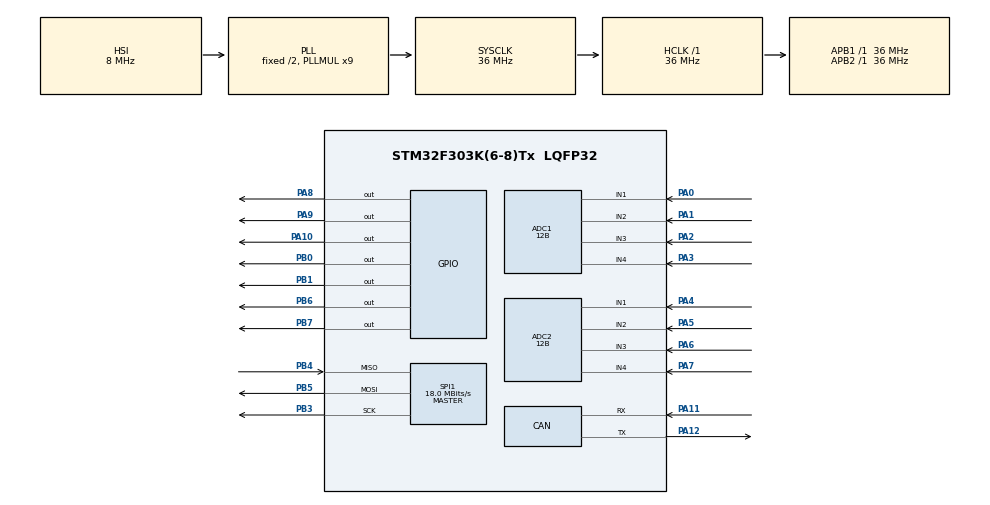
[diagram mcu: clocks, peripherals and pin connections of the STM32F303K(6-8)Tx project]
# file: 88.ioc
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ADC1.Channel-0\#ChannelRegularConversion=ADC_CHANNEL_1
ADC1.ClockPrescaler=ADC_CLOCK_SYNC_PCLK_DIV2
ADC1.ContinuousConvMode=DISABLE
ADC1.DMAContinuousRequests=DISABLE
ADC1.DataAlign=ADC_DATAALIGN_RIGHT
ADC1.DiscontinuousConvMode=DISABLE
ADC1.EOCSelection=ADC_EOC_SINGLE_CONV
ADC1.EnableAnalogWatchDog1=false
ADC1.EnableAnalogWatchDog2=false
ADC1.EnableAnalogWatchDog3=false
ADC1.EnableInjectedConversion=ENABLE
ADC1.EnableRegularConversion=ENABLE
ADC1.ExternalTrigConv=ADC_SOFTWARE_START
ADC1.ExternalTrigConvEdge=ADC_EXTERNALTRIGCONVEDGE_NONE
ADC1.ExternalTrigInjecConv=ADC_INJECTED_SOFTWARE_START
ADC1.ExternalTrigInjecConvEdge=ADC_EXTERNALTRIGINJECCONV_EDGE_NONE
ADC1.InjNumberOfConversion=4
ADC1.InjectedChannel-4\#ChannelInjectedConversion=ADC_CHANNEL_1
ADC1.InjectedChannel-5\#ChannelInjectedConversion=ADC_CHANNEL_2
ADC1.InjectedChannel-6\#ChannelInjectedConversion=ADC_CHANNEL_3
ADC1.InjectedChannel-8\#ChannelInjectedConversion=ADC_CHANNEL_4
ADC1.InjectedConvMode=None
ADC1.InjectedOffset-4\#ChannelInjectedConversion=0
ADC1.InjectedOffset-5\#ChannelInjectedConversion=0
ADC1.InjectedOffset-6\#ChannelInjectedConversion=0
ADC1.InjectedOffset-8\#ChannelInjectedConversion=0
ADC1.InjectedOffsetNumber-4\#ChannelInjectedConversion=ADC_OFFSET_NONE
ADC1.InjectedOffsetNumber-5\#ChannelInjectedConversion=ADC_OFFSET_NONE
ADC1.InjectedOffsetNumber-6\#ChannelInjectedConversion=ADC_OFFSET_NONE
ADC1.InjectedOffsetNumber-8\#ChannelInjectedConversion=ADC_OFFSET_NONE
ADC1.InjectedRank-4\#ChannelInjectedConversion=1
ADC1.InjectedRank-5\#ChannelInjectedConversion=2
ADC1.InjectedRank-6\#ChannelInjectedConversion=3
ADC1.InjectedRank-8\#ChannelInjectedConversion=4
ADC1.InjectedSamplingTime-4\#ChannelInjectedConversion=ADC_SAMPLETIME_1CYCLE_5
ADC1.InjectedSamplingTime-5\#ChannelInjectedConversion=ADC_SAMPLETIME_1CYCLE_5
ADC1.InjectedSamplingTime-6\#ChannelInjectedConversion=ADC_SAMPLETIME_1CYCLE_5
ADC1.InjectedSamplingTime-8\#ChannelInjectedConversion=ADC_SAMPLETIME_1CYCLE_5
ADC1.LowPowerAutoWait=DISABLE
ADC1.NbrOfConversion=1
ADC1.NbrOfConversionFlag=1
ADC1.Offset-0\#ChannelRegularConversion=0
ADC1.OffsetNumber-0\#ChannelRegularConversion=ADC_OFFSET_NONE
ADC1.Overrun=ADC_OVR_DATA_OVERWRITTEN
ADC1.QueueInjectedContext=DISABLE
ADC1.Rank-0\#ChannelRegularConversion=1
ADC1.Resolution=ADC_RESOLUTION_12B
ADC1.SamplingTime-0\#ChannelRegularConversion=ADC_SAMPLETIME_1CYCLE_5
ADC1.ScanConvMode=ADC_SCAN_ENABLE
ADC1.SubFamily=STM32F303x8
ADC1.master=1
ADC2.Channel-0\#ChannelRegularConversion=ADC_CHANNEL_1
ADC2.ClockPrescaler=ADC_CLOCK_SYNC_PCLK_DIV2
ADC2.ContinuousConvMode=DISABLE
ADC2.DMAContinuousRequests=DISABLE
ADC2.DataAlign=ADC_DATAALIGN_RIGHT
ADC2.DiscontinuousConvMode=DISABLE
ADC2.EOCSelection=ADC_EOC_SINGLE_CONV
ADC2.EnableAnalogWatchDog1=false
ADC2.EnableAnalogWatchDog2=false
ADC2.EnableAnalogWatchDog3=false
ADC2.EnableInjectedConversion=ENABLE
ADC2.EnableRegularConversion=ENABLE
ADC2.ExternalTrigConv=ADC_SOFTWARE_START
ADC2.ExternalTrigConvEdge=ADC_EXTERNALTRIGCONVEDGE_NONE
ADC2.ExternalTrigInjecConv=ADC_INJECTED_SOFTWARE_START
ADC2.ExternalTrigInjecConvEdge=ADC_EXTERNALTRIGINJECCONV_EDGE_NONE
ADC2.InjNumberOfConversion=4
ADC2.InjectedChannel-1\#ChannelInjectedConversion=ADC_CHANNEL_1
ADC2.InjectedChannel-2\#ChannelInjectedConversion=ADC_CHANNEL_2
ADC2.InjectedChannel-3\#ChannelInjectedConversion=ADC_CHANNEL_3
ADC2.InjectedChannel-5\#ChannelInjectedConversion=ADC_CHANNEL_4
ADC2.InjectedConvMode=None
ADC2.InjectedOffset-1\#ChannelInjectedConversion=0
ADC2.InjectedOffset-2\#ChannelInjectedConversion=0
ADC2.InjectedOffset-3\#ChannelInjectedConversion=0
ADC2.InjectedOffset-5\#ChannelInjectedConversion=0
ADC2.InjectedOffsetNumber-1\#ChannelInjectedConversion=ADC_OFFSET_NONE
ADC2.InjectedOffsetNumber-2\#ChannelInjectedConversion=ADC_OFFSET_NONE
ADC2.InjectedOffsetNumber-3\#ChannelInjectedConversion=ADC_OFFSET_NONE
ADC2.InjectedOffsetNumber-5\#ChannelInjectedConversion=ADC_OFFSET_NONE
ADC2.InjectedRank-1\#ChannelInjectedConversion=1
ADC2.InjectedRank-2\#ChannelInjectedConversion=2
ADC2.InjectedRank-3\#ChannelInjectedConversion=3
ADC2.InjectedRank-5\#ChannelInjectedConversion=4
ADC2.InjectedSamplingTime-1\#ChannelInjectedConversion=ADC_SAMPLETIME_1CYCLE_5
ADC2.InjectedSamplingTime-2\#ChannelInjectedConversion=ADC_SAMPLETIME_1CYCLE_5
ADC2.InjectedSamplingTime-3\#ChannelInjectedConversion=ADC_SAMPLETIME_1CYCLE_5
ADC2.InjectedSamplingTime-5\#ChannelInjectedConversion=ADC_SAMPLETIME_1CYCLE_5
ADC2.LowPowerAutoWait=DISABLE
ADC2.NbrOfConversion=1
ADC2.NbrOfConversionFlag=1
ADC2.Offset-0\#ChannelRegularConversion=0
ADC2.OffsetNumber-0\#ChannelRegularConversion=ADC_OFFSET_NONE
ADC2.Overrun=ADC_OVR_DATA_OVERWRITTEN
ADC2.QueueInjectedContext=DISABLE
ADC2.Rank-0\#ChannelRegularConversion=1
ADC2.Resolution=ADC_RESOLUTION_12B
ADC2.SamplingTime-0\#ChannelRegularConversion=ADC_SAMPLETIME_1CYCLE_5
ADC2.ScanConvMode=ADC_SCAN_ENABLE
ADC2.SubFamily=STM32F303x8
CAN.CalculateTimeQuantum=444.44444444444446
Mcu.Family=STM32F3
Mcu.Name=STM32F303K(6-8)Tx
Mcu.Package=LQFP32
NVIC.PriorityGroup=NVIC_PRIORITYGROUP_4
PA0.Mode=IN1-Single-Ended
PA0.Signal=ADC1_IN1
PA1.Mode=IN2-Single-Ended
PA1.Signal=ADC1_IN2
PA10.Signal=GPIO_Output
PA11.Mode=Master
PA11.Signal=CAN_RX
PA12.Mode=Master
PA12.Signal=CAN_TX
PA13.Mode=Serial_Wire
PA13.Signal=SYS_JTMS-SWDIO
PA14.Mode=Serial_Wire
PA14.Signal=SYS_JTCK-SWCLK
PA2.Mode=IN3-Single-Ended
PA2.Signal=ADC1_IN3
PA3.Mode=IN4-Single-Ended
PA3.Signal=ADC1_IN4
PA4.Mode=IN1-Single-Ended
PA4.Signal=ADC2_IN1
PA5.Mode=IN2-Single-Ended
PA5.Signal=ADC2_IN2
PA6.Mode=IN3-Single-Ended
PA6.Signal=ADC2_IN3
PA7.Mode=IN4-Single-Ended
PA7.Signal=ADC2_IN4
PA8.Signal=GPIO_Output
PA9.Signal=GPIO_Output
PB0.Signal=GPIO_Output
PB1.Signal=GPIO_Output
PB3.Mode=Full_Duplex_Master
PB3.Signal=SPI1_SCK
PB4.Mode=Full_Duplex_Master
PB4.Signal=SPI1_MISO
PB5.Mode=Full_Duplex_Master
PB5.Signal=SPI1_MOSI
PB6.Signal=GPIO_Output
PB7.Signal=GPIO_Output
PF0\ /\ OSC_IN.Mode=HSE-External-Clock-Source
PF0\ /\ OSC_IN.Signal=RCC_OSC_IN
ProjectManager.HeapSize=0x200
ProjectManager.StackSize=0x400
ProjectManager.TargetToolchain=SW4STM32
RCC.AHBFreq_Value=36000000
RCC.APB1Freq_Value=36000000
RCC.APB1TimFreq_Value=36000000
RCC.APB2Freq_Value=36000000
RCC.APB2TimFreq_Value=36000000
RCC.CortexFreq_Value=36000000
RCC.HCLKFreq_Value=36000000
RCC.HSE_VALUE=8000000
RCC.HSI_VALUE=8000000
RCC.PLLMUL=RCC_PLL_MUL9
RCC.SYSCLKFreq_VALUE=36000000
RCC.SYSCLKSourceVirtual=RCC_SYSCLKSOURCE_PLLCLK
SPI1.BaudRatePrescaler=SPI_BAUDRATEPRESCALER_2
SPI1.CalculateBaudRate=18.0 MBits/s
SPI1.DataSize=SPI_DATASIZE_16BIT
SPI1.Direction=SPI_DIRECTION_2LINES
SPI1.Mode=SPI_MODE_MASTER
SPI1.VirtualType=VM_MASTER
VP_TIM1_VS_ClockSourceINT.Mode=Internal
VP_TIM2_VS_ClockSourceINT.Mode=Internal
board=custom

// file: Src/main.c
#include "main.h"
#include "stm32f3xx_hal.h"

/* USER CODE BEGIN Includes */
#define cs_set() HAL_GPIO_WritePin(GPIOA, GPIO_PIN_9, SET)
#define cs_reset() HAL_GPIO_WritePin(GPIOA, GPIO_PIN_9, RESET)
#define SPI_PORT      SPI1
#define SPI_SCK_PIN   GPIO_PIN_3   // PB13
#define SPI_MISO_PIN  GPIO_PIN_4    // PB14
#define SPI_CS_PIN    GPIO_PIN_0    // PB12
#define SPI_GPIO_PORT GPIOB
#define cs_strob() cs_reset(); cs_set()
/* USER CODE END Includes */

ADC_HandleTypeDef hadc1;
ADC_HandleTypeDef hadc2;

CAN_HandleTypeDef hcan;

SPI_HandleTypeDef hspi1;

TIM_HandleTypeDef htim1;
TIM_HandleTypeDef htim2;

/* USER CODE BEGIN PV */
/* Private variables ---------------------------------------------------------*/

/* USER CODE END PV */

void SystemClock_Config(void);
static void MX_GPIO_Init(void);
static void MX_ADC1_Init(void);
static void MX_ADC2_Init(void);
static void MX_TIM1_Init(void);
static void MX_CAN_Init(void);
static void MX_SPI1_Init(void);
static void MX_TIM2_Init(void);

/* USER CODE BEGIN PFP */
/* Private function prototypes -----------------------------------------------*/
uint32_t v=0;
uint32_t v1=0;
uint32_t v2=0;
uint32_t v3=0;

//Переменные для получения температуры
long internal=0;
long centigrade=0;
long internal1=0;
long centigrade1=0;
long internal3=0;
long centigrade3=0;
long centigrade4=0;
long internal4=0;

//Массивы для получения значения
uint16_t data1[4];
uint16_t data2[4];

uint16_t data3[4];
uint16_t data4[4];

float a[8]={0};

//хуйня ебаная
char TC1_open=0;
char TC1_short_gnd=0;
char TC1_short_vcc=0;
long TC1_internal_temp=0;
long TC1_temp=0;
//сасок
char TC2_open=0;
char TC2_short_gnd=0;
char TC2_short_vcc=0;
long TC2_internal_temp=0;
long TC2_temp=0;

char TC3_open=0;
char TC3_short_gnd=0;
char TC3_short_vcc=0;
long TC3_internal_temp=0;
long TC3_temp=0;

char TC4_open=0;
char TC4_short_gnd=0;
char TC4_short_vcc=0;
long TC4_internal_temp=0;
long TC4_temp=0;
/* USER CODE END PFP */

int main(void)
{

	HAL_Init();

  /* Configure the system clock */
  SystemClock_Config();

  /* Initialize all configured peripherals */
  MX_GPIO_Init();
  MX_ADC1_Init();
  MX_ADC2_Init();
  MX_TIM1_Init();
  MX_CAN_Init();
  MX_SPI1_Init();
  MX_TIM2_Init();
  HAL_GPIO_WritePin(GPIOB, GPIO_PIN_0, SET);  //b1
 	  		  HAL_GPIO_WritePin(GPIOB, GPIO_PIN_1, SET); //b2
 	  		  HAL_GPIO_WritePin(GPIOB, GPIO_PIN_7, SET); //b3
 	  		  HAL_GPIO_WritePin(GPIOB, GPIO_PIN_6, SET); //b4

  while (1)
  {

	  /*
	  		 for(i=0;i<=255;i++)
	  		 {
	  			 a[0]=i;
	  			 HAL_SPI_Transmit(&hspi1, (uint8_t*)a, 1, 5000);
	  			 cs_strob();
	  			 HAL_Delay(1000);

	  		 }
	  	   res();
	  		  sendbit(0);
	  		  sendbit(1);
	  		  sendbit(1);
	  		  sendbit(1);
	  		  sendbit(1);
	  		  sendbit(1);
	  		  sendbit(1);
	  		  sendbit(1);
	  		  latch();
	  		  HAL_Delay(100);
*/
	  		  //---------------ADC1-----------------//
	  		  HAL_ADCEx_InjectedStart(&hadc1); 						   //START ADC1
	  		  HAL_ADCEx_InjectedPollForConversion(&hadc1, 100);		   //Преобразование
	  		  a[0]=((float)HAL_ADCEx_InjectedGetValue(&hadc1, ADC_INJECTED_RANK_1))*3/4095; //КАНАЛ4 PA0
	  		  a[1]=((float)HAL_ADCEx_InjectedGetValue(&hadc1, ADC_INJECTED_RANK_2))*3/4095; //КАНАЛ4 PA1
	  		  a[2]=((float)HAL_ADCEx_InjectedGetValue(&hadc1, ADC_INJECTED_RANK_3))*3/4095; //КАНАЛ4 PA2
	  		  a[3]=((float)HAL_ADCEx_InjectedGetValue(&hadc1, ADC_INJECTED_RANK_4))*3/4095; //КАНАЛ4 PA3
	  		  HAL_ADCEx_InjectedStop(&hadc1); //STOP

	  		  //---------------ADC2-----------------//
	  		  HAL_ADCEx_InjectedStart(&hadc2); 						   //START ADC2
	  		  HAL_ADCEx_InjectedPollForConversion(&hadc2, 100);          //Преобразование
	  		  a[4]=((float)HAL_ADCEx_InjectedGetValue(&hadc2, ADC_INJECTED_RANK_1))*3/4095; //КАНАЛ1 PA4
	  		  a[5]=((float)HAL_ADCEx_InjectedGetValue(&hadc2, ADC_INJECTED_RANK_2))*3/4095; //КАНАЛ2 PA5
	  		  a[6]=((float)HAL_ADCEx_InjectedGetValue(&hadc2, ADC_INJECTED_RANK_3))*3/4095; //КАНАЛ3 PA6
	  		  a[7]=((float)HAL_ADCEx_InjectedGetValue(&hadc2, ADC_INJECTED_RANK_4))*3/4095; //КАНАЛ4 PA7
	  		  HAL_ADCEx_InjectedStop(&hadc2); 						   //STOP

	  		  HAL_GPIO_WritePin(GPIOB, GPIO_PIN_0, RESET);  //b1
	  		  HAL_GPIO_WritePin(GPIOB, GPIO_PIN_1, SET); //b2
	  		  HAL_GPIO_WritePin(GPIOB, GPIO_PIN_7, SET); //b3
	  		  HAL_GPIO_WritePin(GPIOB, GPIO_PIN_6, SET); //b4
	  		HAL_Delay(5);
	  		 HAL_SPI_Receive(&hspi1, &data1[0], 4, 100);
	  		HAL_Delay(5);
	  		  HAL_GPIO_WritePin(GPIOB, GPIO_PIN_0, SET);  //b1
	  		  HAL_GPIO_WritePin(GPIOB, GPIO_PIN_1, RESET); //b2
	  		  HAL_GPIO_WritePin(GPIOB, GPIO_PIN_7, SET); //b3
	  		  HAL_GPIO_WritePin(GPIOB, GPIO_PIN_6, SET); //b4
	  		HAL_Delay(5);
	  		HAL_SPI_Receive(&hspi1, &data2[0], 4, 100);
	  		HAL_Delay(5);
	  		  HAL_GPIO_WritePin(GPIOB, GPIO_PIN_0, SET);  //b1
	  		  HAL_GPIO_WritePin(GPIOB, GPIO_PIN_1, SET); //b2
	  		  HAL_GPIO_WritePin(GPIOB, GPIO_PIN_7, RESET); //b3
	  		  HAL_GPIO_WritePin(GPIOB, GPIO_PIN_6, SET); //b4
	  		HAL_Delay(5);
	  		HAL_SPI_Receive(&hspi1,&data3[0],4,100);
	  		HAL_Delay(5);
	  		  HAL_GPIO_WritePin(GPIOB, GPIO_PIN_0, SET);  //b1
	  		  HAL_GPIO_WritePin(GPIOB, GPIO_PIN_1, SET); //b2
	  		  HAL_GPIO_WritePin(GPIOB, GPIO_PIN_7, SET); //b3
	  		  HAL_GPIO_WritePin(GPIOB, GPIO_PIN_6, RESET); //b4
	  		HAL_Delay(5);
	  		HAL_SPI_Receive(&hspi1,&data4[0],4,100);
	  		HAL_Delay(5);
	  		  HAL_GPIO_WritePin(GPIOB, GPIO_PIN_0, SET);  //b1
	  		  HAL_GPIO_WritePin(GPIOB, GPIO_PIN_1, SET); //b2
	  		  HAL_GPIO_WritePin(GPIOB, GPIO_PIN_7, SET); //b3
	  		  HAL_GPIO_WritePin(GPIOB, GPIO_PIN_6, SET); //b4

/*
	  		TC1_open=(data1[3] & ( 1 << 0 )) >> 0;
	  		TC1_short_gnd=(data1[3] & ( 1 << 1 )) >> 1;
	  		TC1_short_vcc=(data1[3] & ( 1 << 2 )) >> 2;
	  		TC1_internal_temp=data1[2];//(data1[2]<<4)+(data1[3]>>4);
	  		TC1_temp=(data1[0]<<4)+(data1[1]>>4);

	  			TC2_open=(data2[3] & ( 1 << 0 )) >> 0;
	  			TC2_short_gnd=(data2[3] & ( 1 << 1 )) >> 1;
	  			TC2_short_vcc=(data2[3] & ( 1 << 2 )) >> 2;
	  			TC2_internal_temp=data2[2];//(data2[2]<<4)+(data2[3]>>4);
	  			TC2_temp=(data2[0]<<4)+(data2[1]>>4);

	  			TC3_open=(data3[3] & ( 1 << 0 )) >> 0;
	  			TC3_short_gnd=(data3[3] & ( 1 << 1 )) >> 1;
	  			TC3_short_vcc=(data3[3] & ( 1 << 2 )) >> 2;
	  			TC3_internal_temp=data3[2];//(data1[2]<<4)+(data1[3]>>4);
	  			TC3_temp=(data3[0]<<4)+(data3[1]>>4);

	  			TC4_open=(data4[3] & ( 1 << 0 )) >> 0;
	  			TC4_short_gnd=(data4[3] & ( 1 << 1 )) >> 1;
	  			TC4_short_vcc=(data4[3] & ( 1 << 2 )) >> 2;
	  			TC4_internal_temp=data4[2];//(data2[2]<<4)+(data2[3]>>4);
	  			TC4_temp=(data4[0]<<4)+(data4[1]>>4);

*/
	  		//*****DA1  Первая термопара******///
	  		  v1=(data1[0]<<16)|data1[1];
	  		  internal1 = (v1 >> 4) & 0x7FF;
	  		  internal1 *= 0.0625;
	  		  if ((v1 >> 4) & 0x800)
	  			  internal1 *= -1;
	  			  if (v1 & 0x80000000)
	  			  	 {
	  			  	 v1 = 0xFFFFC000 | ((v1 >> 18) & 0x00003FFFF);
	  			  	 }
	  			  else
	  			  	 {
	  			  	 v1 >>= 18;
	  			  	 }
	  		  centigrade1 = v1;
	  		  centigrade1 *= (-0.25);// ХЗ с этим минусом можешь убрать попробывать, если че
	  		//printf("ineternal: %f couple: %f . \r \n",internal,centigrade);

//*****DA2  Вторая термопара******///
	  	    v=(data2[0]<<16)|data2[1];
	  	    internal = (v >> 4) & 0x7FF;
	  	      internal *= 0.0625;
	  	      if ((v >> 4) & 0x800)
	  	    	  internal *= -1;
	  	      if (v & 0x80000000)
	  	      {
	  	        v = 0xFFFFC000 | ((v >> 18) & 0x00003FFFF);
	  	      }
	  	      else
	  	      {
	  	        v >>= 18;
	  	      }
	  	   centigrade = v;
	  	   centigrade *= (-0.25);
	  	      //printf("ineternal: %f couple: %f . \r \n",internal,centigrade);

	  	    //*****DA3  Третья термопара******ВОЗМОЖНО ПЕРЕПУТАЛ :) ХЗ//

		  	    v2=(data3[0]<<16)|data3[1];
		  	    internal3 = (v2 >> 4) & 0x7FF;
		  	      internal3 *= 0.0625;
		  	      if ((v2 >> 4) & 0x800)
		  	      internal3 *= -1;
		  	      if (v2 & 0x80000000)
		  	      {
		  	        v2 = 0xFFFFC000 | ((v2 >> 18) & 0x00003FFFF);
		  	      }
		  	      else
		  	      {
		  	        v2 >>= 18;
		  	      }
		  	    centigrade3 = v2;
		  	    centigrade3 *= (-0.25);
		  	      //printf("ineternal: %f couple: %f . \r \n",internal,centigrade);

			  	    //*****DA4  Четвертая термопара****** ВОЗМОЖНО ПЕРЕПУТАЛ :) ХЗ///

		  	    v3=(data4[0]<<16)|data4[1];
				internal4 = (v3 >> 4) & 0x7FF;
				internal4 *= 0.0625;
				if ((v3 >> 4) & 0x800)
				  internal4 *= -1;
				if (v3 & 0x80000000)
				{
				  v3 = 0xFFFFC000 | ((v3 >> 18) & 0x00003FFFF);
				}
				  else
				{
				  v3 >>= 18;
				}
				  centigrade4 = v3;
				  centigrade4 *= (-0.25);
			//printf("ineternal: %f couple: %f . \r \n",internal,centigrade);
				  HAL_Delay(500);

				  HAL_CAN_Transmit(centigrade1, 100);
				  HAL_CAN_Transmit(centigrade, 100);
				  HAL_CAN_Transmit(centigrade3, 100);
				  HAL_CAN_Transmit(centigrade4, 100);

  }
}

void SystemClock_Config(void)
{

  RCC_OscInitTypeDef RCC_OscInitStruct;
  RCC_ClkInitTypeDef RCC_ClkInitStruct;
  RCC_PeriphCLKInitTypeDef PeriphClkInit;

    /**Initializes the CPU, AHB and APB busses clocks
    */
  RCC_OscInitStruct.OscillatorType = RCC_OSCILLATORTYPE_HSI;
  RCC_OscInitStruct.HSIState = RCC_HSI_ON;
  RCC_OscInitStruct.HSICalibrationValue = 16;
  RCC_OscInitStruct.PLL.PLLState = RCC_PLL_ON;
  RCC_OscInitStruct.PLL.PLLSource = RCC_PLLSOURCE_HSI;
  RCC_OscInitStruct.PLL.PLLMUL = RCC_PLL_MUL9;
  if (HAL_RCC_OscConfig(&RCC_OscInitStruct) != HAL_OK)
  {
    _Error_Handler(__FILE__, __LINE__);
  }

    /**Initializes the CPU, AHB and APB busses clocks
    */
  RCC_ClkInitStruct.ClockType = RCC_CLOCKTYPE_HCLK|RCC_CLOCKTYPE_SYSCLK
                              |RCC_CLOCKTYPE_PCLK1|RCC_CLOCKTYPE_PCLK2;
  RCC_ClkInitStruct.SYSCLKSource = RCC_SYSCLKSOURCE_PLLCLK;
  RCC_ClkInitStruct.AHBCLKDivider = RCC_SYSCLK_DIV1;
  RCC_ClkInitStruct.APB1CLKDivider = RCC_HCLK_DIV1;
  RCC_ClkInitStruct.APB2CLKDivider = RCC_HCLK_DIV1;

  if (HAL_RCC_ClockConfig(&RCC_ClkInitStruct, FLASH_LATENCY_1) != HAL_OK)
  {
    _Error_Handler(__FILE__, __LINE__);
  }

  PeriphClkInit.PeriphClockSelection = RCC_PERIPHCLK_TIM1;
  PeriphClkInit.Tim1ClockSelection = RCC_TIM1CLK_HCLK;
  if (HAL_RCCEx_PeriphCLKConfig(&PeriphClkInit) != HAL_OK)
  {
    _Error_Handler(__FILE__, __LINE__);
  }

    /**Configure the Systick interrupt time
    */
  HAL_SYSTICK_Config(HAL_RCC_GetHCLKFreq()/1000);

    /**Configure the Systick
    */
  HAL_SYSTICK_CLKSourceConfig(SYSTICK_CLKSOURCE_HCLK);

  /* SysTick_IRQn interrupt configuration */
  HAL_NVIC_SetPriority(SysTick_IRQn, 0, 0);
}

/* ADC1 init function */
static void MX_ADC1_Init(void)
{

  ADC_MultiModeTypeDef multimode;
  ADC_ChannelConfTypeDef sConfig;
  ADC_InjectionConfTypeDef sConfigInjected;

    /**Common config
    */
  hadc1.Instance = ADC1;
  hadc1.Init.ClockPrescaler = ADC_CLOCK_SYNC_PCLK_DIV2;
  hadc1.Init.Resolution = ADC_RESOLUTION_12B;
  hadc1.Init.ScanConvMode = ADC_SCAN_ENABLE;
  hadc1.Init.ContinuousConvMode = DISABLE;
  hadc1.Init.DiscontinuousConvMode = DISABLE;
  hadc1.Init.ExternalTrigConvEdge = ADC_EXTERNALTRIGCONVEDGE_NONE;
  hadc1.Init.ExternalTrigConv = ADC_SOFTWARE_START;
  hadc1.Init.DataAlign = ADC_DATAALIGN_RIGHT;
  hadc1.Init.NbrOfConversion = 1;
  hadc1.Init.DMAContinuousRequests = DISABLE;
  hadc1.Init.EOCSelection = ADC_EOC_SINGLE_CONV;
  hadc1.Init.LowPowerAutoWait = DISABLE;
  hadc1.Init.Overrun = ADC_OVR_DATA_OVERWRITTEN;
  if (HAL_ADC_Init(&hadc1) != HAL_OK)
  {
    _Error_Handler(__FILE__, __LINE__);
  }

    /**Configure the ADC multi-mode
    */
  multimode.Mode = ADC_MODE_INDEPENDENT;
  if (HAL_ADCEx_MultiModeConfigChannel(&hadc1, &multimode) != HAL_OK)
  {
    _Error_Handler(__FILE__, __LINE__);
  }

    /**Configure Regular Channel
    */
  sConfig.Channel = ADC_CHANNEL_1;
  sConfig.Rank = ADC_REGULAR_RANK_1;
  sConfig.SingleDiff = ADC_SINGLE_ENDED;
  sConfig.SamplingTime = ADC_SAMPLETIME_1CYCLE_5;
  sConfig.OffsetNumber = ADC_OFFSET_NONE;
  sConfig.Offset = 0;
  if (HAL_ADC_ConfigChannel(&hadc1, &sConfig) != HAL_OK)
  {
    _Error_Handler(__FILE__, __LINE__);
  }

    /**Configure Injected Channel
    */
  sConfigInjected.InjectedChannel = ADC_CHANNEL_1;
  sConfigInjected.InjectedRank = ADC_INJECTED_RANK_1;
  sConfigInjected.InjectedSingleDiff = ADC_SINGLE_ENDED;
  sConfigInjected.InjectedNbrOfConversion = 4;
  sConfigInjected.InjectedSamplingTime = ADC_SAMPLETIME_1CYCLE_5;
  sConfigInjected.ExternalTrigInjecConvEdge = ADC_EXTERNALTRIGINJECCONV_EDGE_NONE;
  sConfigInjected.ExternalTrigInjecConv = ADC_INJECTED_SOFTWARE_START;
  sConfigInjected.AutoInjectedConv = DISABLE;
  sConfigInjected.InjectedDiscontinuousConvMode = DISABLE;
  sConfigInjected.QueueInjectedContext = DISABLE;
  sConfigInjected.InjectedOffset = 0;
  sConfigInjected.InjectedOffsetNumber = ADC_OFFSET_NONE;
  if (HAL_ADCEx_InjectedConfigChannel(&hadc1, &sConfigInjected) != HAL_OK)
  {
    _Error_Handler(__FILE__, __LINE__);
  }

    /**Configure Injected Channel
    */
  sConfigInjected.InjectedChannel = ADC_CHANNEL_2;
  sConfigInjected.InjectedRank = ADC_INJECTED_RANK_2;
  if (HAL_ADCEx_InjectedConfigChannel(&hadc1, &sConfigInjected) != HAL_OK)
  {
    _Error_Handler(__FILE__, __LINE__);
  }

    /**Configure Injected Channel
    */
  sConfigInjected.InjectedChannel = ADC_CHANNEL_3;
  sConfigInjected.InjectedRank = ADC_INJECTED_RANK_3;
  if (HAL_ADCEx_InjectedConfigChannel(&hadc1, &sConfigInjected) != HAL_OK)
  {
    _Error_Handler(__FILE__, __LINE__);
  }

    /**Configure Injected Channel
    */
  sConfigInjected.InjectedChannel = ADC_CHANNEL_4;
  sConfigInjected.InjectedRank = ADC_INJECTED_RANK_4;
  if (HAL_ADCEx_InjectedConfigChannel(&hadc1, &sConfigInjected) != HAL_OK)
  {
    _Error_Handler(__FILE__, __LINE__);
  }

}

/* ADC2 init function */
static void MX_ADC2_Init(void)
{

  ADC_ChannelConfTypeDef sConfig;
  ADC_InjectionConfTypeDef sConfigInjected;

    /**Common config
    */
  hadc2.Instance = ADC2;
  hadc2.Init.ClockPrescaler = ADC_CLOCK_SYNC_PCLK_DIV2;
  hadc2.Init.Resolution = ADC_RESOLUTION_12B;
  hadc2.Init.ScanConvMode = ADC_SCAN_ENABLE;
  hadc2.Init.ContinuousConvMode = DISABLE;
  hadc2.Init.DiscontinuousConvMode = DISABLE;
  hadc2.Init.ExternalTrigConvEdge = ADC_EXTERNALTRIGCONVEDGE_NONE;
  hadc2.Init.ExternalTrigConv = ADC_SOFTWARE_START;
  hadc2.Init.DataAlign = ADC_DATAALIGN_RIGHT;
  hadc2.Init.NbrOfConversion = 1;
  hadc2.Init.DMAContinuousRequests = DISABLE;
  hadc2.Init.EOCSelection = ADC_EOC_SINGLE_CONV;
  hadc2.Init.LowPowerAutoWait = DISABLE;
  hadc2.Init.Overrun = ADC_OVR_DATA_OVERWRITTEN;
  if (HAL_ADC_Init(&hadc2) != HAL_OK)
  {
    _Error_Handler(__FILE__, __LINE__);
  }

    /**Configure Regular Channel
    */
  sConfig.Channel = ADC_CHANNEL_1;
  sConfig.Rank = ADC_REGULAR_RANK_1;
  sConfig.SingleDiff = ADC_SINGLE_ENDED;
  sConfig.SamplingTime = ADC_SAMPLETIME_1CYCLE_5;
  sConfig.OffsetNumber = ADC_OFFSET_NONE;
  sConfig.Offset = 0;
  if (HAL_ADC_ConfigChannel(&hadc2, &sConfig) != HAL_OK)
  {
    _Error_Handler(__FILE__, __LINE__);
  }

    /**Configure Injected Channel
    */
  sConfigInjected.InjectedChannel = ADC_CHANNEL_1;
  sConfigInjected.InjectedRank = ADC_INJECTED_RANK_1;
  sConfigInjected.InjectedSingleDiff = ADC_SINGLE_ENDED;
  sConfigInjected.InjectedNbrOfConversion = 4;
  sConfigInjected.InjectedSamplingTime = ADC_SAMPLETIME_1CYCLE_5;
  sConfigInjected.ExternalTrigInjecConvEdge = ADC_EXTERNALTRIGINJECCONV_EDGE_NONE;
  sConfigInjected.ExternalTrigInjecConv = ADC_INJECTED_SOFTWARE_START;
  sConfigInjected.AutoInjectedConv = DISABLE;
  sConfigInjected.InjectedDiscontinuousConvMode = DISABLE;
  sConfigInjected.QueueInjectedContext = DISABLE;
  sConfigInjected.InjectedOffset = 0;
  sConfigInjected.InjectedOffsetNumber = ADC_OFFSET_NONE;
  if (HAL_ADCEx_InjectedConfigChannel(&hadc2, &sConfigInjected) != HAL_OK)
  {
    _Error_Handler(__FILE__, __LINE__);
  }

    /**Configure Injected Channel
    */
  sConfigInjected.InjectedChannel = ADC_CHANNEL_2;
  sConfigInjected.InjectedRank = ADC_INJECTED_RANK_2;
  if (HAL_ADCEx_InjectedConfigChannel(&hadc2, &sConfigInjected) != HAL_OK)
  {
    _Error_Handler(__FILE__, __LINE__);
  }

    /**Configure Injected Channel
    */
  sConfigInjected.InjectedChannel = ADC_CHANNEL_3;
  sConfigInjected.InjectedRank = ADC_INJECTED_RANK_3;
  if (HAL_ADCEx_InjectedConfigChannel(&hadc2, &sConfigInjected) != HAL_OK)
  {
    _Error_Handler(__FILE__, __LINE__);
  }

    /**Configure Injected Channel
    */
  sConfigInjected.InjectedChannel = ADC_CHANNEL_4;
  sConfigInjected.InjectedRank = ADC_INJECTED_RANK_4;
  if (HAL_ADCEx_InjectedConfigChannel(&hadc2, &sConfigInjected) != HAL_OK)
  {
    _Error_Handler(__FILE__, __LINE__);
  }

}

/* CAN init function */
static void MX_CAN_Init(void)
{

  hcan.Instance = CAN;
  hcan.Init.Prescaler = 16;
  hcan.Init.Mode = CAN_MODE_NORMAL;
  hcan.Init.SJW = CAN_SJW_1TQ;
  hcan.Init.BS1 = CAN_BS1_1TQ;
  hcan.Init.BS2 = CAN_BS2_1TQ;
  hcan.Init.TTCM = DISABLE;
  hcan.Init.ABOM = DISABLE;
  hcan.Init.AWUM = DISABLE;
  hcan.Init.NART = DISABLE;
  hcan.Init.RFLM = DISABLE;
  hcan.Init.TXFP = DISABLE;
  if (HAL_CAN_Init(&hcan) != HAL_OK)
  {
    _Error_Handler(__FILE__, __LINE__);
  }

}

/* SPI1 init function */
static void MX_SPI1_Init(void)
{

  /* SPI1 parameter configuration*/
  hspi1.Instance = SPI1;
  hspi1.Init.Mode = SPI_MODE_MASTER;
  hspi1.Init.Direction = SPI_DIRECTION_2LINES;
  hspi1.Init.DataSize = SPI_DATASIZE_16BIT;
  hspi1.Init.CLKPolarity = SPI_POLARITY_LOW;
  hspi1.Init.CLKPhase = SPI_PHASE_1EDGE;
  hspi1.Init.NSS = SPI_NSS_SOFT;
  hspi1.Init.BaudRatePrescaler = SPI_BAUDRATEPRESCALER_2;
  hspi1.Init.FirstBit = SPI_FIRSTBIT_MSB;
  hspi1.Init.TIMode = SPI_TIMODE_DISABLE;
  hspi1.Init.CRCCalculation = SPI_CRCCALCULATION_DISABLE;
  hspi1.Init.CRCPolynomial = 7;
  hspi1.Init.CRCLength = SPI_CRC_LENGTH_DATASIZE;
  hspi1.Init.NSSPMode = SPI_NSS_PULSE_ENABLE;
  if (HAL_SPI_Init(&hspi1) != HAL_OK)
  {
    _Error_Handler(__FILE__, __LINE__);
  }

}

/* TIM1 init function */
static void MX_TIM1_Init(void)
{

  TIM_ClockConfigTypeDef sClockSourceConfig;
  TIM_MasterConfigTypeDef sMasterConfig;

  htim1.Instance = TIM1;
  htim1.Init.Prescaler = 0;
  htim1.Init.CounterMode = TIM_COUNTERMODE_UP;
  htim1.Init.Period = 0;
  htim1.Init.ClockDivision = TIM_CLOCKDIVISION_DIV1;
  htim1.Init.RepetitionCounter = 0;
  htim1.Init.AutoReloadPreload = TIM_AUTORELOAD_PRELOAD_DISABLE;
  if (HAL_TIM_Base_Init(&htim1) != HAL_OK)
  {
    _Error_Handler(__FILE__, __LINE__);
  }

  sClockSourceConfig.ClockSource = TIM_CLOCKSOURCE_INTERNAL;
  if (HAL_TIM_ConfigClockSource(&htim1, &sClockSourceConfig) != HAL_OK)
  {
    _Error_Handler(__FILE__, __LINE__);
  }

  sMasterConfig.MasterOutputTrigger = TIM_TRGO_RESET;
  sMasterConfig.MasterOutputTrigger2 = TIM_TRGO2_RESET;
  sMasterConfig.MasterSlaveMode = TIM_MASTERSLAVEMODE_DISABLE;
  if (HAL_TIMEx_MasterConfigSynchronization(&htim1, &sMasterConfig) != HAL_OK)
  {
    _Error_Handler(__FILE__, __LINE__);
  }

}

/* TIM2 init function */
static void MX_TIM2_Init(void)
{

  TIM_ClockConfigTypeDef sClockSourceConfig;
  TIM_MasterConfigTypeDef sMasterConfig;

  htim2.Instance = TIM2;
  htim2.Init.Prescaler = 0;
  htim2.Init.CounterMode = TIM_COUNTERMODE_UP;
  htim2.Init.Period = 0;
  htim2.Init.ClockDivision = TIM_CLOCKDIVISION_DIV1;
  htim2.Init.AutoReloadPreload = TIM_AUTORELOAD_PRELOAD_DISABLE;
  if (HAL_TIM_Base_Init(&htim2) != HAL_OK)
  {
    _Error_Handler(__FILE__, __LINE__);
  }

  sClockSourceConfig.ClockSource = TIM_CLOCKSOURCE_INTERNAL;
  if (HAL_TIM_ConfigClockSource(&htim2, &sClockSourceConfig) != HAL_OK)
  {
    _Error_Handler(__FILE__, __LINE__);
  }

  sMasterConfig.MasterOutputTrigger = TIM_TRGO_RESET;
  sMasterConfig.MasterSlaveMode = TIM_MASTERSLAVEMODE_DISABLE;
  if (HAL_TIMEx_MasterConfigSynchronization(&htim2, &sMasterConfig) != HAL_OK)
  {
    _Error_Handler(__FILE__, __LINE__);
  }

}

/** Configure pins as
        * Analog
        * Input
        * Output
        * EVENT_OUT
        * EXTI
*/
static void MX_GPIO_Init(void)
{

  GPIO_InitTypeDef GPIO_InitStruct;

  /* GPIO Ports Clock Enable */
  __HAL_RCC_GPIOF_CLK_ENABLE();
  __HAL_RCC_GPIOA_CLK_ENABLE();
  __HAL_RCC_GPIOB_CLK_ENABLE();

  /*Configure GPIO pin Output Level */
  HAL_GPIO_WritePin(GPIOB, GPIO_PIN_0|GPIO_PIN_1|GPIO_PIN_6|GPIO_PIN_7, GPIO_PIN_RESET);

  /*Configure GPIO pin Output Level */
  HAL_GPIO_WritePin(GPIOA, GPIO_PIN_8|GPIO_PIN_9|GPIO_PIN_10, GPIO_PIN_RESET);

  /*Configure GPIO pins : PB0 PB1 PB6 PB7 */
  GPIO_InitStruct.Pin = GPIO_PIN_0|GPIO_PIN_1|GPIO_PIN_6|GPIO_PIN_7;
  GPIO_InitStruct.Mode = GPIO_MODE_OUTPUT_PP;
  GPIO_InitStruct.Pull = GPIO_NOPULL;
  GPIO_InitStruct.Speed = GPIO_SPEED_FREQ_LOW;
  HAL_GPIO_Init(GPIOB, &GPIO_InitStruct);

  /*Configure GPIO pins : PA8 PA9 PA10 */
  GPIO_InitStruct.Pin = GPIO_PIN_8|GPIO_PIN_9|GPIO_PIN_10;
  GPIO_InitStruct.Mode = GPIO_MODE_OUTPUT_PP;
  GPIO_InitStruct.Pull = GPIO_NOPULL;
  GPIO_InitStruct.Speed = GPIO_SPEED_FREQ_LOW;
  HAL_GPIO_Init(GPIOA, &GPIO_InitStruct);

}

void _Error_Handler(char *file, int line)
{
  while(1)
  {
  }
}

/************************ (C) COPYRIGHT STMicroelectronics *****END OF FILE****/
